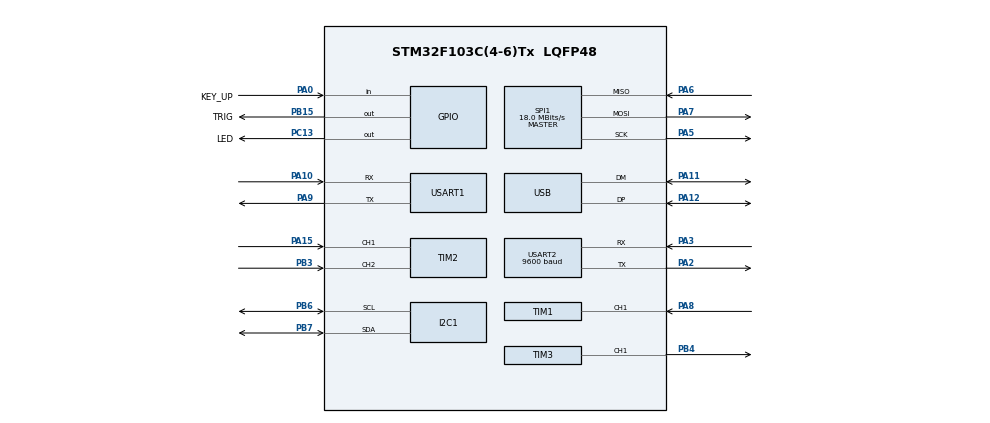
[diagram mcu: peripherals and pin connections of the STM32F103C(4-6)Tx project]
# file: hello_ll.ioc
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Dma.I2C1_RX.3.Direction=DMA_PERIPH_TO_MEMORY
Dma.I2C1_RX.3.Instance=DMA1_Channel7
Dma.I2C1_RX.3.MemDataAlignment=DMA_MDATAALIGN_BYTE
Dma.I2C1_RX.3.MemInc=DMA_MINC_ENABLE
Dma.I2C1_RX.3.Mode=DMA_NORMAL
Dma.I2C1_RX.3.PeriphDataAlignment=DMA_PDATAALIGN_BYTE
Dma.I2C1_RX.3.PeriphInc=DMA_PINC_DISABLE
Dma.I2C1_RX.3.Priority=DMA_PRIORITY_LOW
Dma.I2C1_TX.2.Direction=DMA_MEMORY_TO_PERIPH
Dma.I2C1_TX.2.Instance=DMA1_Channel6
Dma.I2C1_TX.2.MemDataAlignment=DMA_MDATAALIGN_BYTE
Dma.I2C1_TX.2.MemInc=DMA_MINC_ENABLE
Dma.I2C1_TX.2.Mode=DMA_NORMAL
Dma.I2C1_TX.2.PeriphDataAlignment=DMA_PDATAALIGN_BYTE
Dma.I2C1_TX.2.PeriphInc=DMA_PINC_DISABLE
Dma.I2C1_TX.2.Priority=DMA_PRIORITY_LOW
Dma.Request0=USART1_TX
Dma.Request1=USART1_RX
Dma.Request2=I2C1_TX
Dma.Request3=I2C1_RX
Dma.USART1_RX.1.Direction=DMA_PERIPH_TO_MEMORY
Dma.USART1_RX.1.Instance=DMA1_Channel5
Dma.USART1_RX.1.MemDataAlignment=DMA_MDATAALIGN_BYTE
Dma.USART1_RX.1.MemInc=DMA_MINC_ENABLE
Dma.USART1_RX.1.Mode=DMA_NORMAL
Dma.USART1_RX.1.PeriphDataAlignment=DMA_PDATAALIGN_BYTE
Dma.USART1_RX.1.PeriphInc=DMA_PINC_DISABLE
Dma.USART1_RX.1.Priority=DMA_PRIORITY_LOW
Dma.USART1_TX.0.Direction=DMA_MEMORY_TO_PERIPH
Dma.USART1_TX.0.Instance=DMA1_Channel4
Dma.USART1_TX.0.MemDataAlignment=DMA_MDATAALIGN_BYTE
Dma.USART1_TX.0.MemInc=DMA_MINC_ENABLE
Dma.USART1_TX.0.Mode=DMA_NORMAL
Dma.USART1_TX.0.PeriphDataAlignment=DMA_PDATAALIGN_BYTE
Dma.USART1_TX.0.PeriphInc=DMA_PINC_DISABLE
Dma.USART1_TX.0.Priority=DMA_PRIORITY_LOW
I2C1.I2C_Mode=I2C_Fast
Mcu.Family=STM32F1
Mcu.Name=STM32F103C(4-6)Tx
Mcu.Package=LQFP48
NVIC.DMA1_Channel4_IRQn=true\:0\:0\:false\:false\:true\:false\:true\:true
NVIC.DMA1_Channel5_IRQn=true\:0\:0\:false\:false\:true\:false\:true\:true
NVIC.DMA1_Channel6_IRQn=true\:0\:0\:false\:false\:true\:false\:true\:true
NVIC.DMA1_Channel7_IRQn=true\:0\:0\:false\:false\:true\:false\:true\:true
NVIC.I2C1_ER_IRQn=true\:0\:0\:false\:false\:true\:true\:true\:true
NVIC.I2C1_EV_IRQn=true\:0\:0\:false\:false\:true\:true\:true\:true
NVIC.PriorityGroup=NVIC_PRIORITYGROUP_4
NVIC.TIM1_CC_IRQn=true\:0\:0\:false\:false\:true\:true\:true\:true
NVIC.USART1_IRQn=true\:0\:0\:false\:false\:true\:false\:true\:true
NVIC.USART2_IRQn=true\:0\:0\:false\:false\:true\:true\:true\:true
PA0-WKUP.GPIO_Label=KEY_UP
PA0-WKUP.GPIO_PuPd=GPIO_PULLDOWN
PA0-WKUP.Signal=GPIO_Input
PA10.Mode=Asynchronous
PA10.Signal=USART1_RX
PA11.Mode=Device
PA11.Signal=USB_DM
PA12.Mode=Device
PA12.Signal=USB_DP
PA13.Mode=Serial_Wire
PA13.Signal=SYS_JTMS-SWDIO
PA14.Mode=Serial_Wire
PA14.Signal=SYS_JTCK-SWCLK
PA15.Signal=S_TIM2_CH1_ETR
PA2.Mode=Asynchronous
PA2.Signal=USART2_TX
PA3.Mode=Asynchronous
PA3.Signal=USART2_RX
PA4.Signal=SPI1_NSS
PA5.Mode=Full_Duplex_Master
PA5.Signal=SPI1_SCK
PA6.Mode=Full_Duplex_Master
PA6.Signal=SPI1_MISO
PA7.Mode=Full_Duplex_Master
PA7.Signal=SPI1_MOSI
PA8.GPIO_PuPd=GPIO_PULLDOWN
PA8.Signal=S_TIM1_CH1
PA9.Mode=Asynchronous
PA9.Signal=USART1_TX
PB15.GPIO_Label=TRIG
PB15.Signal=GPIO_Output
PB3.Signal=S_TIM2_CH2
PB4.GPIO_Speed=GPIO_SPEED_FREQ_HIGH
PB4.Signal=S_TIM3_CH1
PB6.GPIO_Pu=GPIO_NOPULL
PB6.Mode=I2C
PB6.Signal=I2C1_SCL
PB7.GPIO_Pu=GPIO_NOPULL
PB7.Mode=I2C
PB7.Signal=I2C1_SDA
PC13-TAMPER-RTC.GPIO_Label=LED
PC13-TAMPER-RTC.Signal=GPIO_Output
PC14-OSC32_IN.Mode=LSE-External-Oscillator
PC14-OSC32_IN.Signal=RCC_OSC32_IN
PC15-OSC32_OUT.Mode=LSE-External-Oscillator
PC15-OSC32_OUT.Signal=RCC_OSC32_OUT
PD0-OSC_IN.Mode=HSE-External-Oscillator
PD0-OSC_IN.Signal=RCC_OSC_IN
PD1-OSC_OUT.Mode=HSE-External-Oscillator
PD1-OSC_OUT.Signal=RCC_OSC_OUT
ProjectManager.HeapSize=0x200
ProjectManager.StackSize=0x400
ProjectManager.TargetToolchain=CMake
RCC.AHBFreq_Value=72000000
RCC.APB1CLKDivider=RCC_HCLK_DIV2
RCC.APB1Freq_Value=36000000
RCC.APB1TimFreq_Value=72000000
RCC.APB2Freq_Value=72000000
RCC.APB2TimFreq_Value=72000000
RCC.HCLKFreq_Value=72000000
RCC.PLLMUL=RCC_PLL_MUL9
RCC.PLLSourceVirtual=RCC_PLLSOURCE_HSE
RCC.RCC_MCOSource=RCC_MCO1SOURCE_HSE
RCC.RTCClockSelection=RCC_RTCCLKSOURCE_LSE
RCC.SYSCLKFreq_VALUE=72000000
RCC.SYSCLKSource=RCC_SYSCLKSOURCE_PLLCLK
RCC.USBFreq_Value=48000000
RCC.USBPrescaler=RCC_USBCLKSOURCE_PLL_DIV1_5
SH.S_TIM1_CH1.0=TIM1_CH1,Input_Capture1_from_TI1
SH.S_TIM2_CH1_ETR.0=TIM2_CH1,Encoder_Interface
SH.S_TIM2_CH2.0=TIM2_CH2,Encoder_Interface
SH.S_TIM3_CH1.0=TIM3_CH1,PWM Generation1 CH1
SPI1.BaudRatePrescaler=SPI_BAUDRATEPRESCALER_4
SPI1.CalculateBaudRate=18.0 MBits/s
SPI1.Direction=SPI_DIRECTION_2LINES
SPI1.Mode=SPI_MODE_MASTER
SPI1.VirtualType=VM_MASTER
TIM1.Channel-Input_Capture1_from_TI1=TIM_CHANNEL_1
TIM1.Channel-Input_Capture2_from_TI1_63=TIM_CHANNEL_2
TIM1.ICPolarity_CH2=TIM_INPUTCHANNELPOLARITY_FALLING
TIM1.Prescaler=72-1
TIM2.IC1Filter=15
TIM2.IC2Filter=15
TIM3.Channel-PWM\ Generation1\ CH1=TIM_CHANNEL_1
TIM3.Period=2000-1
TIM3.Prescaler=720-1
TIM3.Pulse-PWM\ Generation1\ CH1=50
USART1.VirtualMode=VM_ASYNC
USART2.BaudRate=9600
USART2.VirtualMode=VM_ASYNC
VP_RTC_VS_RTC_Activate.Mode=RTC_Enabled
VP_TIM1_VS_ClockSourceINT.Mode=Internal
VP_TIM1_VS_indirect_ch1.Mode=Input_Capture2_from_TI1_63
board=custom

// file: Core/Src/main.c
/* USER CODE BEGIN Header */
/**
 ******************************************************************************
 * @file           : main.c
 * @brief          : Main program body
 ******************************************************************************
 * @attention
 *
 * Copyright (c) 2026 STMicroelectronics.
 * All rights reserved.
 *
 * This software is licensed under terms that can be found in the LICENSE file
 * in the root directory of this software component.
 * If no LICENSE file comes with this software, it is provided AS-IS.
 *
 ******************************************************************************
 */
/* USER CODE END Header */
#include "main.h"
#include "dma.h"
#include "gpio.h"
#include "i2c.h"
#include "rtc.h"
#include "spi.h"
#include "tim.h"
#include "usart.h"
#include "usb.h"

/* USER CODE BEGIN Includes */
#include "aht20.h"
#include "i2c_ll.h"
#include "keyled.h"
#include "uart.h"
#include "us_delay.h"
#include <stdint.h>
#include <string.h>
/* USER CODE END Includes */

/* USER CODE BEGIN PV */
uint8_t recv_data[50];
char hum[7];
char temp[7];
char msg[50];
uint8_t input_flag;
AHT20_Status aht20_status;
/* USER CODE END PV */

void SystemClock_Config(void);
/* USER CODE BEGIN PFP */
void UART_Handle_Recv(UART_Ctx *ctx);
void UART_Handle_Recv_IDLE(UART_Ctx *ctx, uint8_t size);
/* USER CODE END PFP */

/* USER CODE BEGIN 0 */
void UART_Handle_Recv_IT(UART_Ctx *ctx) {
  LED_Toggle();
  UART_Transmit_RecvData_IT(ctx, recv_data, 1);
  input_flag = recv_data[0];
  UART_SendData_IT(ctx, recv_data, 1);
  UART_RecvData_IT(ctx, 1);
};

void UART_Handle_Recv_DMA(UART_Ctx *ctx) {
  LED_Toggle();
  UART_SendData_DMA(ctx, recv_data, 2);
  UART_RecvData_DMA(ctx, recv_data, 2);
}

void UART_Handle_Recv_IDLE(UART_Ctx *ctx, uint8_t size) {
  LED_Toggle();
  input_flag = recv_data[0];
  UART_SendData_DMA(ctx, recv_data, size);
  UART_RecvData_IDLE(ctx, recv_data, 50);
}

void I2C_Error_Callback(I2C_Ctx *ctx, I2C_LL_Error error) {
  if (error.I2C_ERROR_BERR) {
    /* 总线错误复位后重新初始化 */
    MX_I2C1_Init();
    strcpy(msg, "Error: BERR\n");
  }
  if (error.I2C_ERROR_AF) {
    strcpy(msg, "Error: AF\n");
  }
  if (error.I2C_ERROR_ARLO) {
    strcpy(msg, "Error: ARLO\n");
  }
  if (error.I2C_ERROR_OVR) {
    strcpy(msg, "Error: OVR\n");
  }
  UART_SendData_DMA(UART1, (uint8_t *)msg, strlen(msg));
  ctx->status = I2C_STATUS_IDLE;
}

void I2C_MasterTx_Callback(I2C_Ctx *ctx) {
  if (ctx->addr == AHT20_ADDR) {
    if (aht20_status == AHT20_STATUS_SENDING_MESURE) {
      aht20_status = AHT20_STATUS_SENDING_COMPLETE;
    }
  }
}

void I2C_MasterRx_Callback(I2C_Ctx *ctx) {
  if (ctx->addr == AHT20_ADDR) {
    if (aht20_status == AHT20_STATUS_READING_MESURE) {
      aht20_status = AHT20_STATUS_READING_COMPLETE;
    }
  }
}
/* USER CODE END 0 */

int main(void) {

  /* MCU Configuration--------------------------------------------------------*/

  /* Reset of all peripherals, Initializes the Flash interface and the Systick.
   */
  HAL_Init();

  /* USER CODE BEGIN Init */
  DWT_Init();
  /* USER CODE END Init */

  /* Configure the system clock */
  SystemClock_Config();

  /* Initialize all configured peripherals */
  MX_GPIO_Init();
  MX_DMA_Init();
  MX_I2C1_Init();
  MX_SPI1_Init();
  MX_USART1_UART_Init();
  MX_USB_PCD_Init();
  MX_RTC_Init();
  MX_USART2_UART_Init();
  MX_TIM1_Init();
  MX_TIM3_Init();
  MX_TIM2_Init();
  /* USER CODE BEGIN 2 */
  AHT20_Init();
  LL_TIM_CC_EnableChannel(TIM1, LL_TIM_CHANNEL_CH1);
  LL_TIM_CC_EnableChannel(TIM1, LL_TIM_CHANNEL_CH2);
  LL_TIM_EnableIT_CC1(TIM1);
  LL_TIM_EnableIT_CC2(TIM1);
  LL_TIM_EnableCounter(TIM1);
  LL_TIM_CC_EnableChannel(TIM3, LL_TIM_CHANNEL_CH1);
  LL_TIM_EnableCounter(TIM3);
  LL_TIM_CC_EnableChannel(TIM2, LL_TIM_CHANNEL_CH1 | LL_TIM_CHANNEL_CH2);
  LL_TIM_EnableCounter(TIM2);
  /* USER CODE END 2 */

  /* Infinite loop */
  /* USER CODE BEGIN WHILE */
  // UART_RecvData_DMA(recv_data, 2);
  UART_RecvData_IDLE(UART1, recv_data, 50);
  UART_RecvData_IT(UART2, 1);
  // UART_RecvData_IDLE(UART2, recv_data, 50);
  while (1) {
    // if (ScanKey()) {
    //   LED_Toggle();
    //   if (LED_GetState()) {
    //     UART_SendData_DMA(UART1, (uint8_t *)"Off\n", 4);
    //     UART_SendData_IT(UART2, (uint8_t *)"Off\n", 4);
    //   } else {
    //     UART_SendData_DMA(UART1, (uint8_t *)"On\n", 3);
    //     UART_SendData_IT(UART2, (uint8_t *)"On\n", 3);
    //   }
    // }
    if (input_flag == 'r') {
      if (aht20_status == AHT20_STATUS_IDLE) {
        AHT20_Measure_IT();
        aht20_status = AHT20_STATUS_SENDING_MESURE;
      }
    }
    if (aht20_status == AHT20_STATUS_SENDING_COMPLETE) {
      LL_mDelay(80);
      AHT20_Recv_IT();
      aht20_status = AHT20_STATUS_READING_MESURE;
    }
    if (aht20_status == AHT20_STATUS_READING_COMPLETE) {
      AHT20_Format(temp, hum);
      aht20_status = AHT20_STATUS_IDLE;
      strcpy(msg, "\nTemp: ");
      strcat(msg, temp);
      strcat(msg, "°C\nHum:  ");
      strcat(msg, hum);
      strcat(msg, " %\n");
      UART_SendData_DMA(UART1, (uint8_t *)msg, strlen(msg));
      UART_SendData_IT(UART2, (uint8_t *)msg, strlen(msg));
      LL_mDelay(20);
    }
    if (input_flag == 't') {
      UART_SendU32Bin(UART1, LL_TIM_GetCounter(TIM1));
      UART_SendByte(UART1, '\n');
    }
    if (input_flag == 'e') {
      LL_mDelay(10);
      LL_GPIO_SetOutputPin(TRIG_GPIO_Port, TRIG_Pin);
      delay_us(50);
      LL_GPIO_ResetOutputPin(TRIG_GPIO_Port, TRIG_Pin);
      LL_TIM_SetCounter(TIM1, 0);
    }
    if (input_flag == 'u') {
      LL_TIM_OC_SetCompareCH1(TIM3, LL_TIM_OC_GetCompareCH1(TIM3) + 10);
    }
    if (input_flag == 'd') {
      LL_TIM_OC_SetCompareCH1(TIM3, LL_TIM_OC_GetCompareCH1(TIM3) - 10);
    }
    input_flag = 0;
    UART_SendU32Dec(UART1, LL_TIM_GetCounter(TIM2));
    UART_SendByte(UART1, '\n');
    LL_mDelay(1000);
    /* USER CODE END WHILE */

  }
}

void SystemClock_Config(void) {
  LL_FLASH_SetLatency(LL_FLASH_LATENCY_2);
  while (LL_FLASH_GetLatency() != LL_FLASH_LATENCY_2) {
  }
  LL_RCC_HSE_Enable();

  /* Wait till HSE is ready */
  while (LL_RCC_HSE_IsReady() != 1) {
  }
  LL_PWR_EnableBkUpAccess();
  if (LL_RCC_GetRTCClockSource() != LL_RCC_RTC_CLKSOURCE_LSE) {
    LL_RCC_ForceBackupDomainReset();
    LL_RCC_ReleaseBackupDomainReset();
  }
  LL_RCC_LSE_Enable();

  /* Wait till LSE is ready */
  while (LL_RCC_LSE_IsReady() != 1) {
  }
  if (LL_RCC_GetRTCClockSource() != LL_RCC_RTC_CLKSOURCE_LSE) {
    LL_RCC_SetRTCClockSource(LL_RCC_RTC_CLKSOURCE_LSE);
  }
  LL_RCC_EnableRTC();
  LL_RCC_PLL_ConfigDomain_SYS(LL_RCC_PLLSOURCE_HSE_DIV_1, LL_RCC_PLL_MUL_9);
  LL_RCC_PLL_Enable();

  /* Wait till PLL is ready */
  while (LL_RCC_PLL_IsReady() != 1) {
  }
  LL_RCC_SetAHBPrescaler(LL_RCC_SYSCLK_DIV_1);
  LL_RCC_SetAPB1Prescaler(LL_RCC_APB1_DIV_2);
  LL_RCC_SetAPB2Prescaler(LL_RCC_APB2_DIV_1);
  LL_RCC_SetSysClkSource(LL_RCC_SYS_CLKSOURCE_PLL);

  /* Wait till System clock is ready */
  while (LL_RCC_GetSysClkSource() != LL_RCC_SYS_CLKSOURCE_STATUS_PLL) {
  }
  LL_SetSystemCoreClock(72000000);

  /* Update the time base */
  if (HAL_InitTick(TICK_INT_PRIORITY) != HAL_OK) {
    Error_Handler();
  }
  LL_RCC_SetUSBClockSource(LL_RCC_USB_CLKSOURCE_PLL_DIV_1_5);
}

void Error_Handler(void) {
  __disable_irq();
  while (1) {
  }
}
#ifdef USE_FULL_ASSERT
/**
 * @brief  Reports the name of the source file and the source line number
 *         where the assert_param error has occurred.
 * @param  file: pointer to the source file name
 * @param  line: assert_param error line source number
 * @retval None
 */
void assert_failed(uint8_t *file, uint32_t line) {
  /* USER CODE BEGIN 6 */
  /* User can add his own implementation to report the file name and line
     number, ex: printf("Wrong parameters value: file %s on line %d\r\n", file,
     line) */
  /* USER CODE END 6 */
}
#endif /* USE_FULL_ASSERT */
